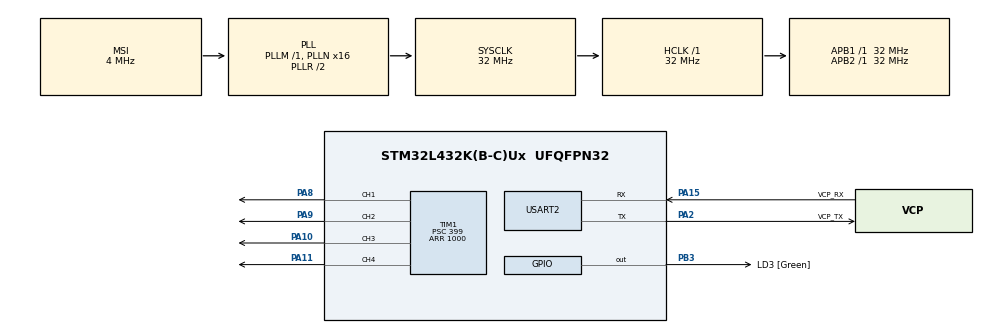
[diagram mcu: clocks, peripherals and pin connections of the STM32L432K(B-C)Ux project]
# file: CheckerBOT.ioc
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Mcu.Family=STM32L4
Mcu.Name=STM32L432K(B-C)Ux
Mcu.Package=UFQFPN32
NVIC.PriorityGroup=NVIC_PRIORITYGROUP_4
PA0.GPIO_Label=MCO [High speed clock in]
PA0.Mode=HSE-External-Clock-Source-for-LittleOrca
PA0.Signal=RCC_CK_IN
PA10.Signal=S_TIM1_CH3
PA11.Signal=S_TIM1_CH4
PA13\ (JTMS-SWDIO).GPIO_Label=SWDIO
PA13\ (JTMS-SWDIO).Mode=Serial_Wire
PA13\ (JTMS-SWDIO).Signal=SYS_JTMS-SWDIO
PA14\ (JTCK-SWCLK).GPIO_Label=SWCLK
PA14\ (JTCK-SWCLK).Mode=Serial_Wire
PA14\ (JTCK-SWCLK).Signal=SYS_JTCK-SWCLK
PA15\ (JTDI).GPIO_Label=VCP_RX
PA15\ (JTDI).Mode=Asynchronous
PA15\ (JTDI).Signal=USART2_RX
PA2.GPIO_Label=VCP_TX
PA2.Mode=Asynchronous
PA2.Signal=USART2_TX
PA8.Signal=S_TIM1_CH1
PA9.Signal=S_TIM1_CH2
PB3\ (JTDO-TRACESWO).GPIO_Label=LD3 [Green]
PB3\ (JTDO-TRACESWO).Signal=GPIO_Output
PC14-OSC32_IN\ (PC14).Mode=LSE-External-Oscillator
PC14-OSC32_IN\ (PC14).Signal=RCC_OSC32_IN
PC15-OSC32_OUT\ (PC15).Mode=LSE-External-Oscillator
PC15-OSC32_OUT\ (PC15).Signal=RCC_OSC32_OUT
ProjectManager.HeapSize=0x200
ProjectManager.StackSize=0x400
ProjectManager.TargetToolchain=STM32CubeIDE
RCC.AHBFreq_Value=32000000
RCC.APB1Freq_Value=32000000
RCC.APB1TimFreq_Value=32000000
RCC.APB2Freq_Value=32000000
RCC.APB2TimFreq_Value=32000000
RCC.CortexFreq_Value=32000000
RCC.HCLKFreq_Value=32000000
RCC.HSE_VALUE=8000000
RCC.HSI16_VALUE=16000000
RCC.HSI48_VALUE=48000000
RCC.HSI_VALUE=16000000
RCC.MSI_VALUE=4000000
RCC.PLLMUL=RCC_PLLMUL_4
RCC.PLLN=16
RCC.SYSCLKFreq_VALUE=32000000
RCC.SYSCLKSource=RCC_SYSCLKSOURCE_PLLCLK
RCC.VCOOutputFreq_Value=64000000
SH.S_TIM1_CH1.0=TIM1_CH1,PWM Generation1 CH1
SH.S_TIM1_CH2.0=TIM1_CH2,PWM Generation2 CH2
SH.S_TIM1_CH3.0=TIM1_CH3,PWM Generation3 CH3
SH.S_TIM1_CH4.0=TIM1_CH4,PWM Generation4 CH4
TIM1.AutoReloadPreload=TIM_AUTORELOAD_PRELOAD_ENABLE
TIM1.Channel-PWM\ Generation1\ CH1=TIM_CHANNEL_1
TIM1.Channel-PWM\ Generation2\ CH2=TIM_CHANNEL_2
TIM1.Channel-PWM\ Generation3\ CH3=TIM_CHANNEL_3
TIM1.Channel-PWM\ Generation4\ CH4=TIM_CHANNEL_4
TIM1.Period=1000
TIM1.Prescaler=399
USART2.VirtualMode-Asynchronous=VM_ASYNC
board=NUCLEO-L432KC

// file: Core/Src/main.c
/* USER CODE BEGIN Header */
/**
  ******************************************************************************
  * @file           : main.c
  * @brief          : Main program body
  ******************************************************************************
  * @attention
  *
  * <h2><center>&copy; Copyright (c) 2020 STMicroelectronics.
  * All rights reserved.</center></h2>
  *
  * This software component is licensed by ST under BSD 3-Clause license,
  * the "License"; You may not use this file except in compliance with the
  * License. You may obtain a copy of the License at:
  *                        opensource.org/licenses/BSD-3-Clause
  *
  ******************************************************************************
  */
/* USER CODE END Header */
#include "main.h"
#include "tim.h"
#include "usart.h"
#include "gpio.h"

/* USER CODE BEGIN Includes */
#include <string.h>
#include <stdlib.h>
#include <stdio.h>
#include <math.h>
/* USER CODE END Includes */

void SystemClock_Config(void);

int main(void)
{

  /* MCU Configuration--------------------------------------------------------*/

  /* Reset of all peripherals, Initializes the Flash interface and the Systick. */
  HAL_Init();

  /* Configure the system clock */
  SystemClock_Config();

  /* Initialize all configured peripherals */
  MX_GPIO_Init();
  MX_USART2_UART_Init();
  MX_TIM1_Init();
  /* USER CODE BEGIN 2 */

  /* Configure Channel 1 */
  /* USER CODE END 2 */

  /* Infinite loop */
  /* USER CODE BEGIN WHILE */
  /*
  double L1 = 5.0;
  double L2 = 4.0;
  double px = 1.0;
  double py = 1.0;
  double r = sqrt(px * px + py * py);
  if ((r <= L1 - L2) && (r >= L1 + L2)) {
	  return -1;
  }
  double a = L1;
  double b = L2;
  double d = 5.0;
  double c = sqrt(r * r + d * d);
  double th1 = 0;
  double th2 = 0;
  double th1a = atan2(py, px);
  double th1b = atan2(py, px);
  double th2a = 2 * atan(sqrt(((a + b) * (a + b) - c * c) / (c * c - (a - b) * (a - b))));
  double th2b = -2 * atan(sqrt(((a + b) * (a + b) - c * c) / (c * c - (a - b) * (a - b))));
  */
  TIM_OC_InitTypeDef sConfigOC;
  sConfigOC.OCMode = TIM_OCMODE_PWM1;
  sConfigOC.OCPolarity = TIM_OCPOLARITY_HIGH;
  sConfigOC.OCNPolarity = TIM_OCNPOLARITY_HIGH;
  sConfigOC.OCFastMode = TIM_OCFAST_DISABLE;
  sConfigOC.OCIdleState = TIM_OCIDLESTATE_RESET;
  sConfigOC.OCNIdleState = TIM_OCNIDLESTATE_RESET;
  double thA[4] = {
		  0.0,
		  83.0,
		  142.0, /* lim */
		  99.0
  };
  double thB[4] = {
		  100.0,
		  83.0,
		  142.0, /* lim */
		  99.0
  };
  double thC[4] = {
		  100.0,
		  85.0,
		  145.0, /* lim */
		  54.0
  };

  double thD[4] = {
		  0.0,
		  85.0,
		  145.0, /* lim */
		  54.0
  };
  double thE[4] = {
		  0.0,
		  85.0,
		  100.0, /* lim */
		  54.0
  };

  double thF[4] = {
		  0.0,
		  83.0,
		  100.0, /* lim */
		  99.0
  };
  /* 120 */
  /* th1 = 105 th2 = 85, th3 = 145, th4 = 90*/
  /* th1 = 110 th2 = 80, th3 = 145, th4 = 125*/
  double min_pulse[4] = {
		  50, 50, 50, 50
  };
  int count = 0;
  while (1)
  {
	  uint32_t pulse[4];
	  uint32_t channels[4] = {
			  TIM_CHANNEL_1,
			  TIM_CHANNEL_2,
			  TIM_CHANNEL_3,
			  TIM_CHANNEL_4
	  };
	  for (int i = 0; i < 4; i++) {
		  if ((count / 2) % 6 == 0) {
			  pulse[i] = (uint32_t)((220.0 - 50.0) * thA[i] / 180.0 + 50.0);
			  sConfigOC.Pulse = pulse[i];
			  HAL_TIM_PWM_ConfigChannel(&htim1, &sConfigOC, channels[i]);
		  }
		  if ((count / 2) % 6 == 1) {
			  pulse[i] = (uint32_t)((220.0 - 50.0) * thB[i] / 180.0 + 50.0);
			  sConfigOC.Pulse = pulse[i];
			  HAL_TIM_PWM_ConfigChannel(&htim1, &sConfigOC, channels[i]);
		  }
		  if ((count / 2) % 6 == 2) {
			  pulse[i] = (uint32_t)((220.0 - 50.0) * thC[i] / 180.0 + 50.0);
			  sConfigOC.Pulse = pulse[i];
			  HAL_TIM_PWM_ConfigChannel(&htim1, &sConfigOC, channels[i]);
		  }
		  if ((count / 2) % 6 == 3) {
			  pulse[i] = (uint32_t)((220.0 - 50.0) * thD[i] / 180.0 + 50.0);
			  sConfigOC.Pulse = pulse[i];
			  HAL_TIM_PWM_ConfigChannel(&htim1, &sConfigOC, channels[i]);
		  }
		  if ((count / 2) % 6 == 4) {
			  pulse[i] = (uint32_t)((220.0 - 50.0) * thE[i] / 180.0 + 50.0);
			  sConfigOC.Pulse = pulse[i];
			  HAL_TIM_PWM_ConfigChannel(&htim1, &sConfigOC, channels[i]);
		  }

		  if ((count / 2) % 6 == 5) {
			  pulse[i] = (uint32_t)((220.0 - 50.0) * thF[i] / 180.0 + 50.0);
			  sConfigOC.Pulse = pulse[i];
			  HAL_TIM_PWM_ConfigChannel(&htim1, &sConfigOC, channels[i]);
		  }
	  }
	  HAL_TIM_PWM_Init(&htim1);
	  HAL_TIM_PWM_Start(&htim1, TIM_CHANNEL_1);
	  HAL_TIM_PWM_Start(&htim1, TIM_CHANNEL_2);
	  HAL_TIM_PWM_Start(&htim1, TIM_CHANNEL_3);
	  HAL_TIM_PWM_Start(&htim1, TIM_CHANNEL_4);
	  HAL_Delay(1000);
	  count++;
    /* USER CODE END WHILE */

  }
}

void SystemClock_Config(void)
{
  RCC_OscInitTypeDef RCC_OscInitStruct = {0};
  RCC_ClkInitTypeDef RCC_ClkInitStruct = {0};
  RCC_PeriphCLKInitTypeDef PeriphClkInit = {0};

  /** Configure LSE Drive Capability
  */
  HAL_PWR_EnableBkUpAccess();
  __HAL_RCC_LSEDRIVE_CONFIG(RCC_LSEDRIVE_LOW);
  /** Initializes the RCC Oscillators according to the specified parameters
  * in the RCC_OscInitTypeDef structure.
  */
  RCC_OscInitStruct.OscillatorType = RCC_OSCILLATORTYPE_LSE|RCC_OSCILLATORTYPE_MSI;
  RCC_OscInitStruct.LSEState = RCC_LSE_ON;
  RCC_OscInitStruct.MSIState = RCC_MSI_ON;
  RCC_OscInitStruct.MSICalibrationValue = 0;
  RCC_OscInitStruct.MSIClockRange = RCC_MSIRANGE_6;
  RCC_OscInitStruct.PLL.PLLState = RCC_PLL_ON;
  RCC_OscInitStruct.PLL.PLLSource = RCC_PLLSOURCE_MSI;
  RCC_OscInitStruct.PLL.PLLM = 1;
  RCC_OscInitStruct.PLL.PLLN = 16;
  RCC_OscInitStruct.PLL.PLLP = RCC_PLLP_DIV7;
  RCC_OscInitStruct.PLL.PLLQ = RCC_PLLQ_DIV2;
  RCC_OscInitStruct.PLL.PLLR = RCC_PLLR_DIV2;
  if (HAL_RCC_OscConfig(&RCC_OscInitStruct) != HAL_OK)
  {
    Error_Handler();
  }
  /** Initializes the CPU, AHB and APB buses clocks
  */
  RCC_ClkInitStruct.ClockType = RCC_CLOCKTYPE_HCLK|RCC_CLOCKTYPE_SYSCLK
                              |RCC_CLOCKTYPE_PCLK1|RCC_CLOCKTYPE_PCLK2;
  RCC_ClkInitStruct.SYSCLKSource = RCC_SYSCLKSOURCE_PLLCLK;
  RCC_ClkInitStruct.AHBCLKDivider = RCC_SYSCLK_DIV1;
  RCC_ClkInitStruct.APB1CLKDivider = RCC_HCLK_DIV1;
  RCC_ClkInitStruct.APB2CLKDivider = RCC_HCLK_DIV1;

  if (HAL_RCC_ClockConfig(&RCC_ClkInitStruct, FLASH_LATENCY_1) != HAL_OK)
  {
    Error_Handler();
  }
  PeriphClkInit.PeriphClockSelection = RCC_PERIPHCLK_USART2;
  PeriphClkInit.Usart2ClockSelection = RCC_USART2CLKSOURCE_PCLK1;
  if (HAL_RCCEx_PeriphCLKConfig(&PeriphClkInit) != HAL_OK)
  {
    Error_Handler();
  }
  /** Configure the main internal regulator output voltage
  */
  if (HAL_PWREx_ControlVoltageScaling(PWR_REGULATOR_VOLTAGE_SCALE1) != HAL_OK)
  {
    Error_Handler();
  }
  /** Enable MSI Auto calibration
  */
  HAL_RCCEx_EnableMSIPLLMode();
}

void Error_Handler(void)
{
}

/************************ (C) COPYRIGHT STMicroelectronics *****END OF FILE****/
